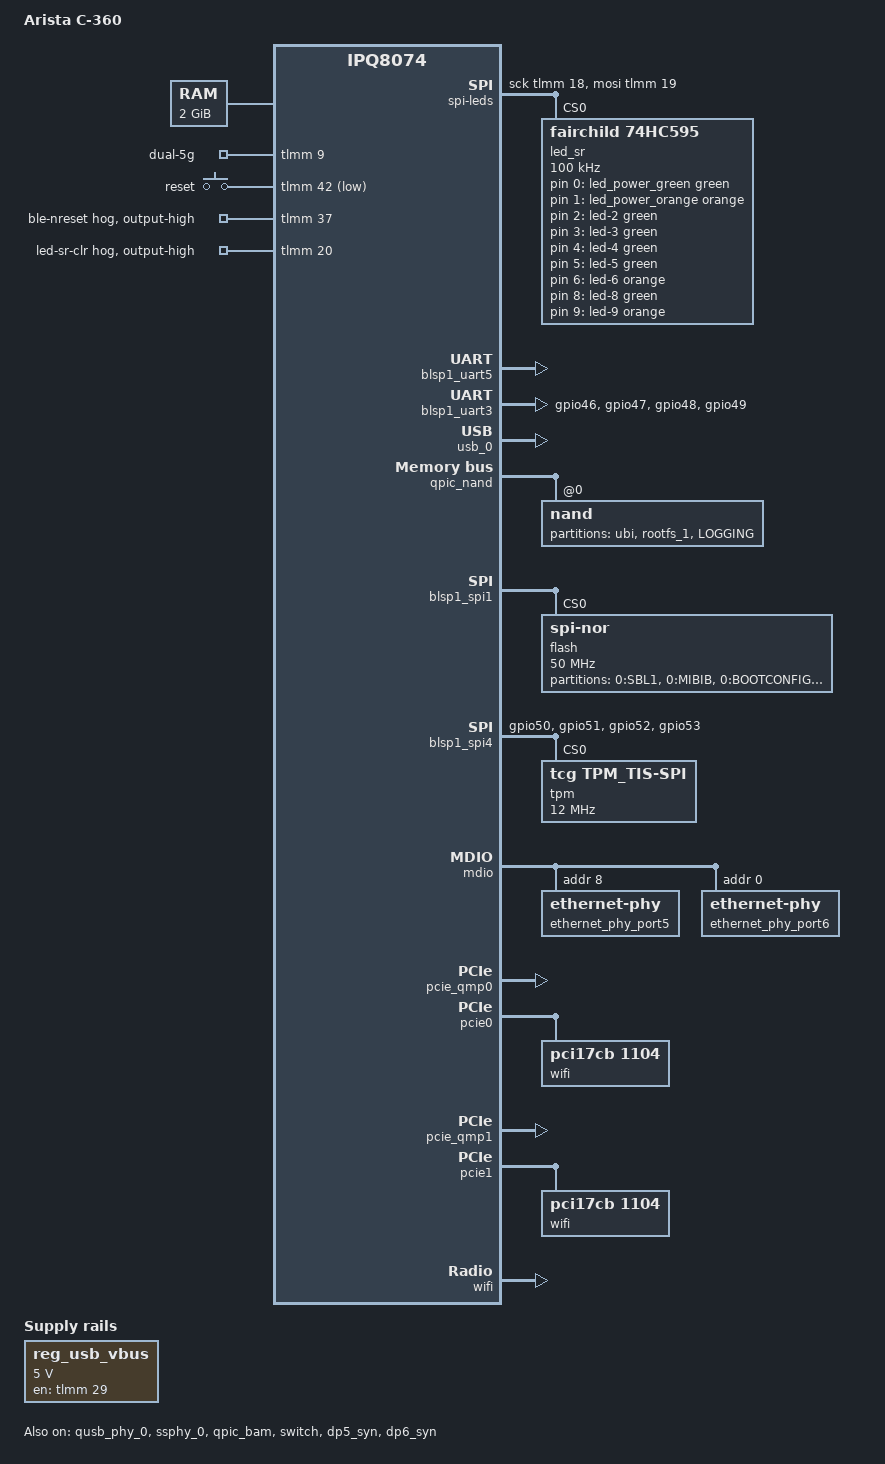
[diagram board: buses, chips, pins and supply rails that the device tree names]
// SPDX-License-Identifier: GPL-2.0-or-later
/*
 * Arista C-360 -- Qualcomm IPQ807x based campus access point
 *
 * Board identity, read from the running device (/tmp/platform_info on the
 * vendor firmware) rather than assumed:
 *
 *	MODEL_STRING=C-360
 *	VENDOR_NAME=ARISTA
 *	PLATFORM_SUB_ID=1
 *
 * The vendor device tree carries NO C-360 strings at all: its root is
 * model = "Qualcomm Technologies, Inc. IPQ807x/AP-HK09" with
 * compatible = "qcom,ipq807x-hk09", "qcom,ipq807x". So this file is a board
 * file in its own right, not a patch of the vendor tree. Its root compatible
 * is the C-360's own and "qcom,ipq8074", not the vendor's (see the root node).
 *
 * SoC identity: IPQ8076A, as identified by the vendor kernel. That
 * identification stands. It is worth being explicit about what does NOT
 * establish it, because the reverse inference is tempting and wrong:
 *
 *   - The OPP list in ipq8074-cpr-regulator.dtsi
 *     (1017600000 1382400000 1651200000 1843200000 1920000000 2208000000) is
 *     an exact match for the vendor DT's /cpus/opp_table0. But that table is
 *     shared across the IPQ8074/IPQ8076 family, so the match is consistent with
 *     IPQ8076A and does not distinguish it from IPQ8074A.
 *   - Likewise "ipq8074" in the dtsi and driver names is a driver-family name.
 *
 * What that leaves: this board is built against the ipq8074 DTS/driver family
 * because that is the family mainline provides for this silicon, and the
 * family name is not a statement about which part is fitted.
 *
 * Console: UART2 at 0x78b3000, established rather than assumed. The vendor
 * U-Boot drives a node named "serial@78B3000" and emits
 * "2nd UART : Not found, skipping initialization"; in the vendor DT
 * /soc/serial@78af000 is status="disabled" while 78B1000 and 78B3000 are "ok".
 * Its IRQ (GIC_SPI 308 == the vendor's 0x134) independently agrees with
 * mainline.
 *
 * msm_serial numbers a UART by its alias: serial0 is the console
 * (blsp1_uart5, ttyMSM0, as the vendor bootargs "console=ttyMSM0,115200n8"
 * have it) and serial1 the BLE module's UART (blsp1_uart3, ttyMSM1); the
 * other BLSP1 UARTs stay disabled. Note that mainline's label for 0x78b3000
 * is blsp1_uart5, not blsp1_uart2: the BLSP1 index is not the hardware UART
 * number.
 *
 * Storage: NAND and SPI NOR with Arista's layout (see the flash block below).
 * Only NAND slot 0 (OpenWrt's "ubi") and U-Boot's environment (0:APPSBLENV,
 * for fw_setenv) can be written; every other partition is read-only, ART
 * above all. SDHC stays disabled (both controllers are disabled in the vendor
 * DT).
 *
 * reserved-memory: none of its own. ipq8074.dtsi, with OpenWrt's patch 0102,
 * reserves the NSS and WCNSS windows, which matter even though this kernel
 * drives neither: the running U-Boot has already loaded NSS and Wi-Fi
 * firmware into them. The stock firmware's map (measured on the live device)
 * also reserves two 24 MiB DMA pools, ramoops and a 16-byte timestamp, which
 * nothing here uses: without them Linux has 57 MiB more. Checked on a unit
 * (2026-10-17): all radios, BLE and the TPM, and RAM filled with data that
 * read back intact.
 *
 * Here: the console, both 10 GbE ports (an Aquantia AQR113C each, on Uniphy
 * 1 and 2), the IPQ8074's 2.4 and 5 GHz radios, the QCN9074 (pcie0, 6 GHz)
 * and QCN9072 (pcie1, the scan radio) cards, the LEDs, the button, USB, the
 * TPM (on SPI) and the BLE module's UART. The notes at each part say how it
 * was worked out; some keep the order of the bring-up (stage 1 was the
 * console alone).
 */

/dts-v1/;

#include "ipq8074.dtsi"
#include "ipq8074-hk-cpu.dtsi"
#include "ipq8074-ess.dtsi"
#include <dt-bindings/gpio/gpio.h>
#include <dt-bindings/input/input.h>
#include <dt-bindings/leds/common.h>

/ {
	model = "Arista C-360";
	/*
	 * "qcom,ipq8074", as upstream boards have it, not the QSDK's
	 * "qcom,ipq807x-hk09", "qcom,ipq807x": qcom-cpufreq-nvmem matches on it,
	 * and without it there is no cpufreq and the cores stay at 800 MHz.
	 */
	compatible = "arista,c360", "qcom,ipq8074";

	aliases {
		serial0 = &blsp1_uart5;
		serial1 = &blsp1_uart3;
		led-boot = &led_power_orange;
		led-failsafe = &led_power_orange;
		led-running = &led_power_green;
		led-upgrade = &led_power_orange;
	};

	chosen {
		stdout-path = "serial0:115200n8";
		/*
		 * U-Boot's bootargs replace any here, so what the kernel needs
		 * however it is booted is appended. pcie_ports=compat stops PCIe
		 * portdrv claiming a GICv2m SPI per root port for PME/AER, so both
		 * cards can get 16 MSI vectors (without it, 0001:01:00.0 got 16
		 * and 0000:01:00.0 got 1).
		 */
		bootargs-append = " pcie_ports=compat";
	};

	/* 2 GiB, base 0x40000000, read from the live device's /memory node. */
	memory@40000000 {
		device_type = "memory";
		reg = <0x0 0x40000000 0x0 0x80000000>;
	};

};

/* The one UART we have proven is wired to the host: 0x78b3000. */
&blsp1_uart5 {
	status = "okay";
};

/*
 * Keep ttyMSM0 unambiguous. msm_serial numbers ports by probe order, so if any
 * of these were left enabled the console could land on the wrong index.
 * 0x78af000 is already "disabled" in mainline; the rest are not.
 */
&blsp1_uart1 {
	status = "disabled";
};

/*
 * BLE/802.15.4 module (W12). 0x78b1000 (blsp1_uart3) is the host link to the
 * on-board Nordic nRF52833, which runs Arista's Zephyr hci_uart controller
 * firmware. The vendor rootfs attaches it with
 *   hciattach -s 115200 /dev/ttyMSM1 any 115200 noflow nosleep
 * Pins gpio46-49 = function blsp2_uart (the vendor hsuart group). serial1
 * alias pins it to ttyMSM1. The nRF reset line is IPQ gpio37 (vendor devmem
 * 0x1025000, active-low reset): hogged high here so the controller is out of
 * reset and running for the whole OpenWrt boot. Four wires are muxed; the
 * controller is driven no-flow, matching the vendor.
 */
&blsp1_uart3 {
	pinctrl-0 = <&ble_uart_pins>;
	pinctrl-names = "default";
	status = "okay";
};

&blsp1_uart6 {
	status = "disabled";
};

/*
 * USB (W13): the external USB 3.0 Type-A port. The vendor DT enables exactly
 * one controller, usb3@8A00000 (mainline usb_0, dwc3, host mode), with its
 * qusb@79000 / ssphy@78000 PHYs (qusb_phy_0 / ssphy_0); usb3@8C00000 (usb_1)
 * is disabled there and stays disabled here. The vendor DT has no VBUS
 * regulator or GPIO for the port.
 */
&qusb_phy_0 {
	status = "okay";
	vdd-supply = <&reg_usb_vbus>;
};

&ssphy_0 {
	status = "okay";
};

&usb_0 {
	status = "okay";
};

/*
 * Flash (W8, the installable image).
 *
 * NAND keeps Arista's three partitions. Slot 0 ("rootfs" in the vendor layout)
 * becomes OpenWrt's UBI and is labelled "ubi", so OpenWrt attaches it by name
 * (pending patch 490) and sysupgrade finds it (CI_UBIPART default). Arista's
 * active slot 1 ("rootfs_1") stays read-only and intact: it is the fallback
 * system, and the firmware hotplug scripts copy the unit's own Wi-Fi firmware
 * and board data out of it. LOGGING stays read-only. On NOR, only 0:APPSBLENV is writable (fw_setenv);
 * the bootloaders, ART (calibration, MACs) and the HLOS images are read-only.
 * MTD refuses writes and erases on read-only partitions. No nand-on-flash-bbt:
 * the bad-block table is built in RAM from the OOB markers.
 *
 * Layout = the vendor OS's /proc/mtd (ap_root_mtd_layout.txt): NOR mtd0-24
 * from the SMEM table, NAND rootfs/rootfs_1/LOGGING from U-Boot's mtdparts.
 * NAND: Micron MT29F8G08ABBCAH4, 4 KiB page, 224 B OOB, 256 KiB block. ECC
 * is 8 bits per 512 B. The vendor DT says 4 (nandcs@0 nand-ecc-strength), but
 * W7 read rootfs_1 with 4-bit ECC and got ~307k ECC failures and hashes that
 * matched none of the U-Boot backups (section 44); the chip's ONFI requirement
 * is 8b/512B, which the QSDK U-Boot/kernel evidently used. The QSDK U-Boot adds SMEM partitions to the NAND
 * controller node at bootm; the dummy disabled "partitions" node absorbs that,
 * as in ipq8074-sxk80.dtsi.
 *
 * The NOR (MX25U25635F, 32 MiB) has 4-byte opcodes, so spi-nor does not switch
 * the chip into 4-byte address mode (which could otherwise upset the boot ROM
 * on a warm reset).
 */
&sdhc_1 {
	status = "disabled";
};

&qpic_bam {
	status = "okay";
};

&qpic_nand {
	status = "okay";

	partitions {
		status = "disabled";
	};

	nand@0 {
		reg = <0>;
		nand-ecc-strength = <8>;
		nand-ecc-step-size = <512>;
		nand-bus-width = <8>;

		partitions {
			compatible = "fixed-partitions";
			#address-cells = <1>;
			#size-cells = <1>;

			/* OpenWrt: Arista's slot 0 ("rootfs"), reused as the UBI */
			partition@0 {
				label = "ubi";
				reg = <0x0 0x18000000>;
			};

			partition@18000000 {
				label = "rootfs_1";
				reg = <0x18000000 0x18000000>;
				read-only;
			};

			partition@30000000 {
				label = "LOGGING";
				reg = <0x30000000 0x10000000>;
				read-only;
			};
		};
	};
};

&blsp1_spi1 {
	status = "okay";

	flash@0 {
		reg = <0>;
		compatible = "jedec,spi-nor";
		spi-max-frequency = <50000000>;

		partitions {
			compatible = "fixed-partitions";
			#address-cells = <1>;
			#size-cells = <1>;

			partition@0 {
				label = "0:SBL1";
				reg = <0x0 0x50000>;
				read-only;
			};

			partition@50000 {
				label = "0:MIBIB";
				reg = <0x50000 0x10000>;
				read-only;
			};

			partition@60000 {
				label = "0:BOOTCONFIG";
				reg = <0x60000 0x20000>;
				read-only;
			};

			partition@80000 {
				label = "0:BOOTCONFIG1";
				reg = <0x80000 0x20000>;
				read-only;
			};

			partition@a0000 {
				label = "0:QSEE";
				reg = <0xa0000 0x180000>;
				read-only;
			};

			partition@220000 {
				label = "0:QSEE_1";
				reg = <0x220000 0x180000>;
				read-only;
			};

			partition@3a0000 {
				label = "0:DEVCFG";
				reg = <0x3a0000 0x10000>;
				read-only;
			};

			partition@3b0000 {
				label = "0:DEVCFG_1";
				reg = <0x3b0000 0x10000>;
				read-only;
			};

			partition@3c0000 {
				label = "0:APDP";
				reg = <0x3c0000 0x10000>;
				read-only;
			};

			partition@3d0000 {
				label = "0:APDP_1";
				reg = <0x3d0000 0x10000>;
				read-only;
			};

			partition@3e0000 {
				label = "0:RPM";
				reg = <0x3e0000 0x40000>;
				read-only;
			};

			partition@420000 {
				label = "0:RPM_1";
				reg = <0x420000 0x40000>;
				read-only;
			};

			partition@460000 {
				label = "0:CDT";
				reg = <0x460000 0x10000>;
				read-only;
			};

			partition@470000 {
				label = "0:CDT_1";
				reg = <0x470000 0x10000>;
				read-only;
			};

			partition@480000 {
				label = "0:APPSBLENV";
				reg = <0x480000 0x10000>;
			};

			partition@490000 {
				label = "0:APPSBL";
				reg = <0x490000 0x100000>;
				read-only;
			};

			partition@590000 {
				label = "0:APPSBL_1";
				reg = <0x590000 0x100000>;
				read-only;
			};

			partition@690000 {
				label = "0:ART";
				reg = <0x690000 0x100000>;
				read-only;

				nvmem-layout {
					compatible = "fixed-layout";
					#address-cells = <1>;
					#size-cells = <1>;

					macaddr_art_0: macaddr@0 {
						reg = <0x0 0x6>;
					};

					macaddr_art_6: macaddr@6 {
						reg = <0x6 0x6>;
					};
				};
			};

			partition@790000 {
				label = "0:ETHPHYFW";
				reg = <0x790000 0x80000>;
				read-only;
			};

			partition@810000 {
				label = "0:HLOS";
				reg = <0x810000 0x800000>;
				read-only;
			};

			partition@1010000 {
				label = "0:HLOS_1";
				reg = <0x1010000 0x800000>;
				read-only;
			};

			partition@1810000 {
				label = "CONFIG";
				reg = <0x1810000 0x400000>;
				read-only;
			};

			partition@1c10000 {
				label = "DEVCERT";
				reg = <0x1c10000 0x20000>;
				read-only;
			};

			partition@1c30000 {
				label = "RESERVED1";
				reg = <0x1c30000 0x20000>;
				read-only;
			};

			partition@1c50000 {
				label = "RESERVED2";
				reg = <0x1c50000 0x3b0000>;
				read-only;
			};
		};
	};
};

/*
 * TPM (W11). The vendor DT has a TIS-over-SPI TPM ("tcg,tpm_spi_tis") at chip
 * select 0 of the QUP SPI at 0x78b8000 (mainline blsp1_spi4), 12 MHz max, pins
 * GPIO 50-53 in function blsp3_spi (vendor spi_3_pins: 8 mA, no bias).
 */
&blsp1_spi4 {
	pinctrl-0 = <&tpm_spi_pins>;
	pinctrl-names = "default";
	status = "okay";

	tpm@0 {
		compatible = "tcg,tpm_tis-spi";
		reg = <0>;
		spi-max-frequency = <12000000>;
	};
};

&blsp1_spi5 {
	status = "disabled";
};

/*
 * Ethernet, stage 2.
 *
 * Wiring is derived from the VENDOR device tree (running_fdt.dtb), not assumed:
 *
 *   mdio@90000   qcom,ipq40xx-mdio / qcom,qca-mdio, reg 0x90000 0x64
 *       ethernet-phy@4   reg = 0x08        <- node NAME says 4, ADDRESS is 0x08
 *       ethernet-phy@5   reg = 0x00        <- node NAME says 5, ADDRESS is 0x00
 *   ess-switch@3a000000  qcom,port_phyinfo:
 *       port@4  port_id 0x05  phy_address 0x08
 *       port@5  port_id 0x06  phy_address 0x00
 *   dp5  qcom,id 0x05  reg 0x3a003000 0x3fff  mactype 0x01
 *       local-mac-address <the unit's MAC, ART 0x0>
 *   dp6  qcom,id 0x06  reg 0x3a007000 0x3fff  mactype 0x01
 *       local-mac-address <the unit's MAC - 1, ART 0x6>
 *
 * Note the PHY node names do NOT correspond to their MDIO addresses: the node
 * named ethernet-phy@4 sits at address 0x08. Everything below keys off reg,
 * never off the node name.
 *
 * ipq8074-ess.dtsi (included above) defines dp5-syn and dp6-syn with exactly
 * these reg values and mactype 1, so the port datapaths are dp5_syn/dp6_syn,
 * not dp1..dp6. Both ship status = "disabled" and are enabled here.
 *
 * ipq8074.dtsi already declares the MDIO bus at mdio@90000 as
 * "qcom,ipq8074-mdio", "qcom,ipq4019-mdio", but without any PHY child, so the PHY nodes have to be
 * added under it. phy-aquantia registers PHY_ID_AQR113C = 0x31c31c12, which is
 * the 0x31c3 / 0x1c12 pair this board's U-Boot reported -- so the driver should
 * bind. Matching IDs supports compatibility; it does NOT establish that probing
 * and link operation will succeed. That needs testing.
 */

/*
 * MDIO bus. The label in ipq8074.dtsi:362 is `mdio`, not `mdio_phy`, and the
 * node ships status = "disabled". It already carries its clock and 6.25 MHz
 * clock-frequency, and there are no mdio pinctrl entries to reference, so
 * nothing else needs adding here.
 */
&mdio {
	status = "okay";

	/*
	 * Aquantia AQR113C on MDIO address 0x08, wired to ESS port_id 5.
	 * The vendor node is called ethernet-phy@4; the address is 0x08.
	 */
	ethernet_phy_port5: ethernet-phy@8 {
		reg = <0x08>;
	};

	/*
	 * Second Aquantia on MDIO address 0x00, wired to ESS port_id 6.
	 * The vendor node is called ethernet-phy@5; the address is 0x00.
	 */
	ethernet_phy_port6: ethernet-phy@0 {
		reg = <0x00>;
	};
};

/*
 * ESS switch: the ppe block the datapaths sit on. Ships disabled.
 *
 * ---------------------------------------------------------------------------
 * Two additions, both traced to observed runtime behaviour on stage 2 of the
 * bring-up, and kept since:
 *
 * 1. qcom,port_phyinfo. Without it, ssdk_dt_parse_phy_info() returns
 *    SW_NOT_FOUND and ssdk_dt_parse_mdio() falls through to a generic
 *    enumeration of the MDIO node's children, assigning them to ports 1, 2, ...
 *    in device-tree order:
 *
 *        i=1 <- ethernet-phy@8   ->  phy_address[1] = 0x08
 *        i=2 <- ethernet-phy@0   ->  phy_address[2] = 0x00
 *
 *    That binds the AQR113C at MDIO 0x08 -- the one that reports carrier -- to
 *    switch port 1, which sits on Uniphy instance 0. On link-up the Aquantia
 *    driver sets phydev->interface = PHY_INTERFACE_MODE_USXGMII, which maps to
 *    PORT_USXGMII (7); qca_hppe_mac_sw_sync_task writes that into
 *    port_mode[1], and _adpt_hppe_instance0_mode_get() then rejects it:
 *
 *        _adpt_hppe_instance0_mode_get[2417]: port 1 doesn't support
 *        port_interface_mode 7
 *
 *    after which the Uniphy0 port 1 clock fails to enable.
 *
 *    The vendor DT supplies port_phyinfo mapping 0x08 -> port 5 and
 *    0x00 -> port 6. That is reproduced here, so USXGMII lands on port 5,
 *    which the instance-0 scan excludes.
 *
 * 2. Explicit switch_lan_bmp / switch_wan_bmp. ssdk_dt_parse_port_bmp()
 *    computes port_bmp = lan_bmp | wan_bmp and overwrites the 0x3e that
 *    qca_ssdk_port_bmp_init() seeds. Note it reads all three bitmap properties
 *    through a single || chain, so one absent property aborts the chain and
 *    logs "port_bmp doesn't exist!" -- which is exactly what stage 2 logged.
 *    With neither present, the MDIO fallback above sets wan_bmp = BIT(1) and
 *    lan_bmp = BIT(2), yielding port_bmp = 0x6 (ports 1 and 2 only) -- also
 *    consistent with the two ssdk_phy_driver_init lines the boot log showed.
 *
 * DEVIATION FROM VENDOR, deliberate: the vendor uses switch_lan_bmp = 0x3e and
 * switch_wan_bmp = 0x40, i.e. ports 1-6. Those values are NOT copied here.
 * Only ports 5 and 6 exist on this board; ports 1-4 have no PHY here and would
 * keep the placeholder addresses 0..3 from qca_ssdk_phy_info_init()'s
 * "phy_address[j] = j - 1" default. Address 0 is a real PHY, so a port 1 in the
 * bitmap would resolve to it and re-create the same failure this node is meant
 * to remove. So the bitmap holds the two populated ports only.
 *
 * Resulting active port set: port_bmp = 0x60 = ports 5 and 6 only.
 * switch_cpu_bmp = 0x1 (port 0) and switch_inner_bmp = 0x80 (port 7) are
 * inherited unchanged from ipq8074-ess.dtsi.
 *
 * The MAC modes (2026-10-07): both ports are 10 GbE, each an Aquantia AQR113C
 * on its own Uniphy: port 5 on instance 1, port 6 on instance 2. Arista's DT
 * sets switch_mac_mode1 = switch_mac_mode2 = 0x0d, MAC_MODE_USXGMII, as does
 * OpenWrt's ipq8072-301w (the same two PHYs at the same MDIO addresses). Left
 * at 0xff (PORT_WRAPPER_MAX), with the datapaths in sgmii, the ports still
 * work: qca-ssdk sets each Uniphy to USXGMII when its PHY reports it at
 * link-up. On 2026-10-07 eth0 linked at 10000 with a DHCP exchange both ways,
 * and eth1 at 10000 too, each with a lease. So the modes stay unset here.
 * Setting USXGMII from boot, as Arista does, was tried: the first link after
 * boot once flapped ("uniphy autoneg time out"). Both PHYs run the firmware Arista's U-Boot
 * loads into them (0:ETHPHYFW, "v5.5.6 Marvell Standard USX-All"): each
 * reports its temperature, which only the firmware provides.
 */
&switch {
	status = "okay";

	/*
	 * qca-ssdk's own port groups (see the note above). They are not
	 * OpenWrt's roles: both ports are plain netdevs, and OpenWrt has no
	 * WAN on this board.
	 */
	switch_lan_bmp = <0x20>;  /* BIT(5) */
	switch_wan_bmp = <0x40>;  /* BIT(6) */

	/*
	 * PHY association, from the vendor DT. Node names port@4 / port@5 are the
	 * vendor's and are kept for traceability; they do NOT correspond to port_id
	 * or phy_address. Only the properties are meaningful to the parser.
	 *
	 * mdiobus is explicit because the parser's fallback searches for compatible
	 * "qcom,ipq40xx-mdio" / "qcom,qca-mdio", and this board's MDIO node is
	 * compatible "qcom,ipq8074-mdio", "qcom,ipq4019-mdio" -- no match. Adding
	 * the phandle makes bus resolution explicit rather than relying on the
	 * miibus_index default. ssdk_miibus_add() is idempotent for a bus it has
	 * already registered.
	 *
	 * This node is also what makes ssdk_dt_parse_phy_info() return SW_OK, which
	 * is what suppresses the generic MDIO-child enumeration described above.
	 */
	qcom,port_phyinfo {
		/* vendor port@4: port_id 5, MDIO 0x08 */
		port@4 {
			port_id = <5>;
			phy_address = <0x08>;
			ethernet-phy-ieee802.3-c45;
			mdiobus = <&mdio>;
		};

		/* vendor port@5: port_id 6, MDIO 0x00 */
		port@5 {
			port_id = <6>;
			phy_address = <0x00>;
			ethernet-phy-ieee802.3-c45;
			mdiobus = <&mdio>;
		};
	};
};

/* EDMA: required by qca-nss-dp. Ships disabled. */
&edma {
	status = "okay";
};

/*
 * Port datapath 5 -- the one to bring up first. reg and mactype match the
 * vendor dp5 exactly. MAC from ART offset 0x0 (U-Boot's ethaddr).
 */
&dp5_syn {
	status = "okay";
	nvmem-cells = <&macaddr_art_0>;
	nvmem-cell-names = "mac-address";
	phy-handle = <&ethernet_phy_port5>;
};

/*
 * Port datapath 6: eth1, the second 10 GbE port (Ethernet 2 on the panel).
 */
&dp6_syn {
	status = "okay";
	nvmem-cells = <&macaddr_art_6>;
	nvmem-cell-names = "mac-address";
	phy-handle = <&ethernet_phy_port6>;
};
/* Both PCIe root ports, for the two cards (17cb:1104 on both, as the
 * preserved vendor logs have it).
 * Labels resolved from ipq8074.dtsi, which this board file already includes:
 *   pcie_qmp0 = phy@84000 (gen3)   pcie0 = pcie@20000000 (domain 0)
 *   pcie_qmp1 = phy@8e000 (gen2)   pcie1 = pcie@10000000 (domain 1)
 * perst-gpios come from the preserved vendor DT, which spells them
 * "perst-gpio = <tlmm 0x3a 0x01>" (domain 0) and "<tlmm 0x3d 0x01>" (domain 1)
 * -> GPIO 58 / GPIO 61, flags 1 = active low. Mainline's pcie-qcom driver
 * reads the plural property "perst-gpios".
 * num-lanes = 1 and max-link-speed (gen2/gen3) are already correct in
 * ipq8074.dtsi and are deliberately NOT touched here. The radios are enabled
 * in the next block.
 */

&pcie_qmp0 {
	status = "okay";
};

&pcie0 {
	status = "okay";

	perst-gpios = <&tlmm 58 GPIO_ACTIVE_LOW>;
};

&pcie_qmp1 {
	status = "okay";
};

&pcie1 {
	status = "okay";

	perst-gpios = <&tlmm 61 GPIO_ACTIVE_LOW>;
};
/* The radios: the integrated IPQ8074's node, and the two cards.
 *
 * The node already carries everything ath11k-ahb requires except status:
 *   compatible = "qcom,ipq8074-wifi"
 *   qcom,rproc = <0x23>   (-> q6v5_wcss@cd00000, which has no status property
 *                          and is already "available" in the running kernel)
 *   the full interrupt list, reg <0xc000000 0x2000000>
 * The "disabled" comes from OpenWrt patch
 *   target/linux/qualcommax/patches-6.12/0121-arm64-dts-ipq8074-Add-WLAN-node.patch
 * (line 131); every OpenWrt ipq807x board overrides it exactly like this.
 *
 * The two endpoints (a QCN9074 on pcie0, a QCN9072 on pcie1, both 17cb:1104)
 * do NOT need a qcom,rproc or any MHI node: mainline
 * ath11k/pci.c binds by PCI device ID (QCN9074_DEVICE_ID 0x1104) and
 * ath11k/mhi.c registers its own MHI controller over the PCI device. The
 * wifi@0,0 child nodes below exist only to name the endpoints, following the
 * OpenWrt reference pattern (ipq8072-ax9000.dts uses compatible
 * "pci17cb,1104" with reg <0x00010000 ...> for exactly this chip).
 *
 * W6: qcom,ath11k-calibration-variant added to both card nodes. Both cards
 * report qmi-board-id 255 (OTP unprogrammed), so without a variant they share
 * one board-2.bin entry. The vendor stack gave each its own BDF: pcie0
 * bdwlan.bab (6 GHz serving radio, band 4 only) and pcie1 bdwlan.baa
 * (2.4/5/6 GHz, the multifunction radio) -- both verified live on W4. The
 * names are ours; the W6 board-2.bin carries matching ",variant=" entries.
 * The IPQ8074 (AHB) keeps board.bin (API 1, vendor bdwlan.b290).
 */

&wifi {
	status = "okay";
};

&pcie0 {
	pcie@0 {
		wifi@0,0 {
			status = "okay";

			/* ath11k has no DT compatible for PCI cards */
			compatible = "pci17cb,1104";
			reg = <0x00010000 0 0 0 0>;

			/*
			 * Host memory is allocated by ath11k (no memory-region), as on
			 * the other QCN9074 boards: tested 2026-10-09 with Arista's
			 * firmware in memory modes 0 and 2. Arista's system gives each
			 * card a fixed window (base-addr 0x51100000 / 0x54800000); with
			 * it or without, the public firmware times out the cap request
			 * the same way, so the window was never the cause. Memory mode 0
			 * as on Arista's system (tgt-mem-mode 0): 16 + 1 interfaces and
			 * 512 clients, where the QCN9074 default (2) has 8 and 128.
			 */
			qcom,ath11k-fw-memory-mode = <0>;
			qcom,ath11k-calibration-variant = "Arista-C360-pcie0";
		};
	};
};

&pcie1 {
	pcie@0 {
		wifi@0,0 {
			status = "okay";

			compatible = "pci17cb,1104";
			reg = <0x00010000 0 0 0 0>;

			/* as pcie0: host memory from ath11k, memory mode 0 */
			qcom,ath11k-fw-memory-mode = <0>;
			qcom,ath11k-calibration-variant = "Arista-C360-pcie1";
		};
	};
};

/*
 * W4: front-panel LEDs. The vendor U-Boot prints "SENAO 74LV164 SHIFT LED
 * INIT!" and drives a 74LV164 shift-register chain from TLMM GPIOs: 18 = clock,
 * 19 = data, 20 = clear (vendor ledc_pinmux led0/led1/led2). Linux found the
 * pins in GPIO mode (func0) with clear high. The 74LV164 has no latch, so no
 * chip select is wired; spi-gpio without cs-gpios toggles none. Two registers,
 * 16 outputs, all active-high.
 *
 * Mapping, walked output by output against the front panel (2026-10-07):
 * 0 power green, 1 power orange, 2 2.4G green, 3 5G green, 4 5/6G green,
 * 5 Ethernet 1 green, 6 Ethernet 1 orange, 8 Ethernet 2 green,
 * 9 Ethernet 2 orange; 7 and 10-15 light nothing visible. Ethernet 1 is eth0
 * (dp5, a 10 GbE port with PoE in), Ethernet 2 is eth1 (dp6). The radio LEDs
 * are tied to their phys by /etc/hotplug.d/ieee80211 (the phy numbers of the
 * two PCIe cards change between boots).
 */
&tlmm {
	tpm_spi_pins: tpm-spi-state {
		pins = "gpio50", "gpio51", "gpio52", "gpio53";
		function = "blsp3_spi";
		drive-strength = <8>;
		bias-disable;
	};

	ble_uart_pins: ble-uart-state {
		pins = "gpio46", "gpio47", "gpio48", "gpio49";
		function = "blsp2_uart";
		drive-strength = <8>;
		bias-disable;
	};

	/*
	 * The reset pinhole: gpio42, low while pressed (seen on a unit). Arista's
	 * own device tree has it as gpio-keys "wps" with a pull-up.
	 */
	button_pins: button-state {
		pins = "gpio42";
		function = "gpio";
		drive-strength = <2>;
		bias-pull-up;
	};

	/* the radio plan line, configured as Arista's system does (0x2c1) */
	radio_plan_pins: radio-plan-state {
		pins = "gpio9";
		function = "gpio";
		drive-strength = <8>;
		bias-pull-down;
	};

	/* Release the nRF52833 reset (active-low) for the whole OpenWrt boot. */
	ble-nreset-hog {
		gpio-hog;
		gpios = <37 GPIO_ACTIVE_HIGH>;
		output-high;
		line-name = "ble-nreset";
	};

	led-sr-clr-hog {
		gpio-hog;
		gpios = <20 GPIO_ACTIVE_HIGH>;
		output-high;
		line-name = "led-sr-clr";
	};
};

/ {
	/*
	 * The USB port's VBUS. Arista's system switches it with gpio29
	 * (USB_CTRL_GPIO_PIN in its /etc/poe_prof.cfg): high on, low off, and off
	 * on 802.3at power. Nothing here sets it otherwise, so the port had no
	 * power and saw no device.
	 */
	reg_usb_vbus: regulator-usb-vbus {
		compatible = "regulator-fixed";
		regulator-name = "usb_vbus";
		regulator-min-microvolt = <5000000>;
		regulator-max-microvolt = <5000000>;
		gpios = <&tlmm 29 GPIO_ACTIVE_HIGH>;
		enable-active-high;
	};

	/*
	 * gpio9 selects the radio plan, as in Arista's read_caldata_to_fs.sh and
	 * country_map.cfg: low for 6 GHz (the IPQ8074 on all of 5 GHz, the
	 * serving QCN9074 on 6 GHz), high for dual 5 GHz (the IPQ8074 on lower
	 * 5 GHz, the serving QCN9074 on upper 5 GHz). Each plan has its own IPQ8074
	 * calibration and board data. It starts low, Arista's default;
	 * arista-c360-radio-mode drives it through /sys/class/gpio/dual-5g.
	 */
	gpio-export {
		compatible = "gpio-export";
		pinctrl-0 = <&radio_plan_pins>;
		pinctrl-names = "default";

		dual-5g {
			gpio-export,name = "dual-5g";
			gpio-export,output = <0>;
			gpios = <&tlmm 9 GPIO_ACTIVE_HIGH>;
		};
	};

	keys {
		compatible = "gpio-keys";
		pinctrl-0 = <&button_pins>;
		pinctrl-names = "default";

		reset {
			label = "reset";
			gpios = <&tlmm 42 GPIO_ACTIVE_LOW>;
			linux,code = <KEY_RESTART>;
		};
	};

	spi-leds {
		compatible = "spi-gpio";
		#address-cells = <1>;
		#size-cells = <0>;
		sck-gpios = <&tlmm 18 GPIO_ACTIVE_HIGH>;
		mosi-gpios = <&tlmm 19 GPIO_ACTIVE_HIGH>;

		led_sr: gpio@0 {
			compatible = "fairchild,74hc595";
			reg = <0>;
			spi-max-frequency = <100000>;
			gpio-controller;
			#gpio-cells = <2>;
			registers-number = <2>;
		};
	};

	leds {
		compatible = "gpio-leds";

		led_power_green: led-0 {
			color = <LED_COLOR_ID_GREEN>;
			function = LED_FUNCTION_POWER;
			gpios = <&led_sr 0 GPIO_ACTIVE_HIGH>;
		};

		led_power_orange: led-1 {
			color = <LED_COLOR_ID_ORANGE>;
			function = LED_FUNCTION_POWER;
			gpios = <&led_sr 1 GPIO_ACTIVE_HIGH>;
		};

		led-2 {
			color = <LED_COLOR_ID_GREEN>;
			function = LED_FUNCTION_WLAN_2GHZ;
			gpios = <&led_sr 2 GPIO_ACTIVE_HIGH>;
		};

		led-3 {
			color = <LED_COLOR_ID_GREEN>;
			function = LED_FUNCTION_WLAN_5GHZ;
			gpios = <&led_sr 3 GPIO_ACTIVE_HIGH>;
		};

		led-4 {
			color = <LED_COLOR_ID_GREEN>;
			function = LED_FUNCTION_WLAN_6GHZ;
			gpios = <&led_sr 4 GPIO_ACTIVE_HIGH>;
		};

		led-5 {
			color = <LED_COLOR_ID_GREEN>;
			function = LED_FUNCTION_LAN;
			function-enumerator = <1>;
			gpios = <&led_sr 5 GPIO_ACTIVE_HIGH>;
		};

		led-6 {
			color = <LED_COLOR_ID_ORANGE>;
			function = LED_FUNCTION_LAN;
			function-enumerator = <1>;
			gpios = <&led_sr 6 GPIO_ACTIVE_HIGH>;
		};

		led-8 {
			color = <LED_COLOR_ID_GREEN>;
			function = LED_FUNCTION_LAN;
			function-enumerator = <2>;
			gpios = <&led_sr 8 GPIO_ACTIVE_HIGH>;
		};

		led-9 {
			color = <LED_COLOR_ID_ORANGE>;
			function = LED_FUNCTION_LAN;
			function-enumerator = <2>;
			gpios = <&led_sr 9 GPIO_ACTIVE_HIGH>;
		};
	};
};
